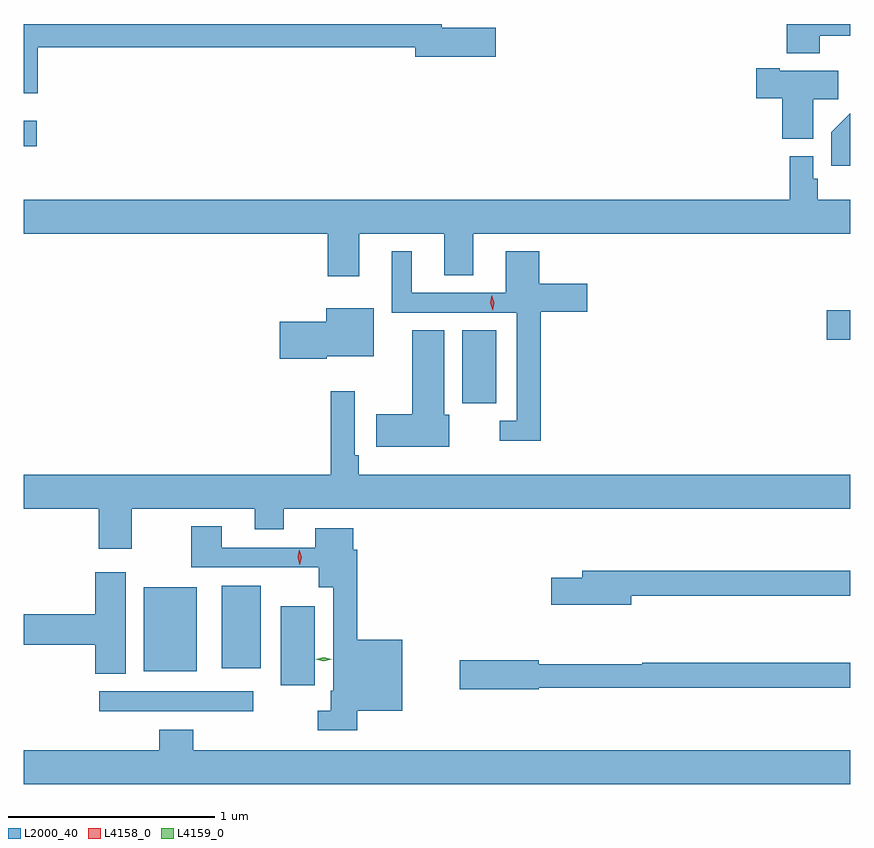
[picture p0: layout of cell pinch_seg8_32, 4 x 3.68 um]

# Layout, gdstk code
import gdstk
lib = gdstk.Library(unit=1e-6, precision=1e-09)
def R(c, l, rs):  # rectangles x0, y0, x1, y1
    for r in rs: c.add(gdstk.rectangle(r[:2], r[2:], *l))
def P(c, l, *ps):  # polygons
    for p in ps: c.add(gdstk.Polygon(p, *l))
L2000_40 = (2000, 40)
L4158_0 = (4158, 0)
L4159_0 = (4159, 0)

pinch_seg8_32 = lib.new_cell('pinch_seg8_32')
R(pinch_seg8_32, L2000_40, [(983.661,1150.152,984.406,1150.248), (984.539,1150.278,984.703,1150.66), (983.876,1150.346,984.133,1150.753), (984.254,1150.361,984.442,1150.759), (985.418,1151.643,985.582,1151.996), (987.18,1151.951,987.295,1152.093), (983.295,1152.887,983.359,1153.009)])
P(pinch_seg8_32, L2000_40, [(987.147,1153.422),(987.295,1153.422),(987.295,1153.478),(986.987,1153.478),(986.987,1153.337),(987.147,1153.337)],
  [(983.363,1153.366),(985.19,1153.366),(985.19,1153.319),(985.579,1153.319),(985.579,1153.461),(985.318,1153.461),(985.318,1153.478),(983.295,1153.478),(983.295,1153.143),(983.363,1153.143)],
  [(987.115,1153.114),(987.236,1153.114),(987.236,1153.252),(986.953,1153.252),(986.953,1153.264),(986.841,1153.264),(986.841,1153.118),(986.966,1153.118),(986.966,1152.923),(987.115,1152.923)],
  [(987.295,1153.047),(987.202,1152.954),(987.202,1152.792),(987.295,1152.792)],
  [(984.919,1152.464),(985.331,1152.464),(985.331,1152.262),(985.471,1152.262),(985.471,1152.464),(987.295,1152.464),(987.295,1152.628),(987.137,1152.628),(987.137,1152.729),(987.117,1152.729),(987.117,1152.838),(987.001,1152.838),(987.001,1152.628),(983.295,1152.628),(983.295,1152.464),(984.767,1152.464),(984.767,1152.258),(984.919,1152.258)],
  [(985.796,1152.086),(986.023,1152.086),(986.023,1152.22),(985.79,1152.22),(985.79,1152.379),(985.628,1152.379),(985.628,1152.177),(985.174,1152.177),(985.174,1152.379),(985.076,1152.379),(985.076,1152.081),(985.68,1152.081),(985.68,1151.559),(985.599,1151.559),(985.599,1151.462),(985.796,1151.462)],
  [(984.762,1151.87),(984.988,1151.87),(984.988,1152.103),(984.758,1152.103),(984.758,1152.036),(984.534,1152.036),(984.534,1151.858),(984.762,1151.858)],
  [(985.354,1151.586),(985.33,1151.586),(985.33,1151.996),(985.175,1151.996),(985.175,1151.59),(985.002,1151.59),(985.002,1151.432),(985.354,1151.432)],
  [(983.817,1151.132),(984.413,1151.132),(984.413,1151.033),(984.553,1151.033),(984.553,1151.132),(987.295,1151.132),(987.295,1151.296),(984.917,1151.296),(984.917,1151.392),(984.897,1151.392),(984.897,1151.701),(984.781,1151.701),(984.781,1151.296),(983.295,1151.296),(983.295,1151.132),(983.657,1151.132),(983.657,1150.938),(983.817,1150.938)],
  [(984.908,1150.154),(985.126,1150.154),(985.126,1150.498),(984.908,1150.498),(984.908,1150.934),(984.889,1150.934),(984.889,1151.038),(984.707,1151.038),(984.707,1150.944),(984.253,1150.944),(984.253,1151.047),(984.106,1151.047),(984.106,1150.848),(984.722,1150.848),(984.722,1150.751),(984.792,1150.751),(984.792,1150.252),(984.78,1150.252),(984.78,1150.155),(984.717,1150.155),(984.717,1150.059),(984.908,1150.059)],
  [(986.236,1150.71),(987.295,1150.71),(987.295,1150.831),(985.997,1150.831),(985.997,1150.797),(985.848,1150.797),(985.848,1150.667),(986.236,1150.667)],
  [(983.788,1150.825),(983.642,1150.825),(983.642,1150.622),(983.295,1150.622),(983.295,1150.475),(983.642,1150.475),(983.642,1150.333),(983.788,1150.333)],
  [(985.788,1150.266),(987.295,1150.266),(987.295,1150.387),(986.288,1150.387),(986.288,1150.379),(985.788,1150.379),(985.788,1150.4),(985.404,1150.4),(985.404,1150.258),(985.788,1150.258)],
  [(987.295,1149.964),(984.116,1149.964),(984.116,1150.063),(983.951,1150.063),(983.951,1149.964),(983.295,1149.964),(983.295,1149.8),(987.295,1149.8)])
P(pinch_seg8_32, L4158_0, [(984.631,1150.861),(984.631,1150.862),(984.62,1150.897),(984.628,1150.933),(984.629,1150.933),(984.629,1150.933),(984.64,1150.898),(984.631,1150.862)],
  [(985.564,1152.093),(985.564,1152.093),(985.552,1152.129),(985.56,1152.165),(985.561,1152.165),(985.561,1152.165),(985.572,1152.13),(985.564,1152.093)])
P(pinch_seg8_32, L4159_0, [(984.747,1150.393),(984.708,1150.403),(984.707,1150.404),(984.708,1150.404),(984.747,1150.413),(984.786,1150.403),(984.786,1150.403),(984.786,1150.403)])

lib.write_gds('pinch_seg8_32.gds')
